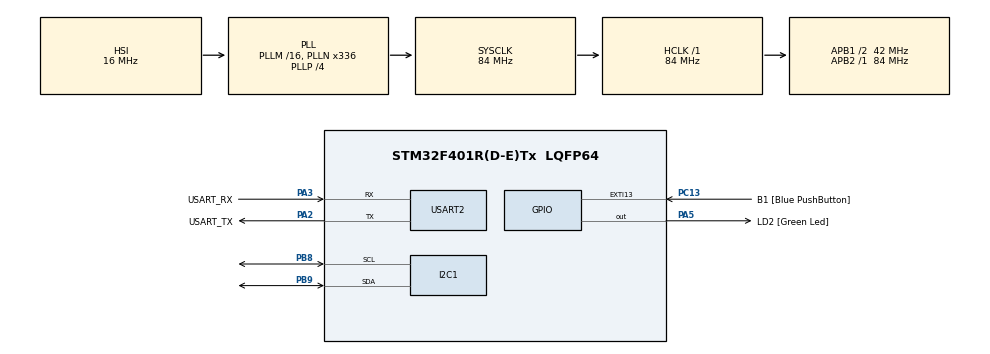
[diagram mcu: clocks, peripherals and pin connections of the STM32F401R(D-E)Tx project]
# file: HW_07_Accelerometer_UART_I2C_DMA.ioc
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Dma.I2C1_RX.1.Direction=DMA_PERIPH_TO_MEMORY
Dma.I2C1_RX.1.FIFOMode=DMA_FIFOMODE_DISABLE
Dma.I2C1_RX.1.Instance=DMA1_Stream0
Dma.I2C1_RX.1.MemDataAlignment=DMA_MDATAALIGN_BYTE
Dma.I2C1_RX.1.MemInc=DMA_MINC_ENABLE
Dma.I2C1_RX.1.Mode=DMA_NORMAL
Dma.I2C1_RX.1.PeriphDataAlignment=DMA_PDATAALIGN_BYTE
Dma.I2C1_RX.1.PeriphInc=DMA_PINC_DISABLE
Dma.I2C1_RX.1.Priority=DMA_PRIORITY_LOW
Dma.Request0=USART2_TX
Dma.Request1=I2C1_RX
Dma.USART2_TX.0.Direction=DMA_MEMORY_TO_PERIPH
Dma.USART2_TX.0.FIFOMode=DMA_FIFOMODE_DISABLE
Dma.USART2_TX.0.Instance=DMA1_Stream6
Dma.USART2_TX.0.MemDataAlignment=DMA_MDATAALIGN_BYTE
Dma.USART2_TX.0.MemInc=DMA_MINC_ENABLE
Dma.USART2_TX.0.Mode=DMA_NORMAL
Dma.USART2_TX.0.PeriphDataAlignment=DMA_PDATAALIGN_BYTE
Dma.USART2_TX.0.PeriphInc=DMA_PINC_DISABLE
Dma.USART2_TX.0.Priority=DMA_PRIORITY_LOW
Mcu.Family=STM32F4
Mcu.Name=STM32F401R(D-E)Tx
Mcu.Package=LQFP64
NVIC.DMA1_Stream0_IRQn=true\:0\:0\:false\:false\:true\:false\:true\:true
NVIC.DMA1_Stream6_IRQn=true\:0\:0\:false\:false\:true\:false\:true\:true
NVIC.I2C1_ER_IRQn=true\:0\:0\:false\:false\:true\:true\:true\:true
NVIC.I2C1_EV_IRQn=true\:0\:0\:false\:false\:true\:true\:true\:true
NVIC.PriorityGroup=NVIC_PRIORITYGROUP_0
NVIC.TIM2_IRQn=true\:0\:0\:false\:false\:true\:true\:true\:true
NVIC.USART2_IRQn=true\:0\:0\:false\:false\:true\:true\:true\:true
PA13.GPIO_Label=TMS
PA13.Mode=Serial_Wire
PA13.Signal=SYS_JTMS-SWDIO
PA14.GPIO_Label=TCK
PA14.Mode=Serial_Wire
PA14.Signal=SYS_JTCK-SWCLK
PA2.GPIO_Label=USART_TX
PA2.GPIO_Mode=GPIO_MODE_AF_PP
PA2.GPIO_PuPd=GPIO_NOPULL
PA2.GPIO_Speed=GPIO_SPEED_FREQ_LOW
PA2.Mode=Asynchronous
PA2.Signal=USART2_TX
PA3.GPIO_Label=USART_RX
PA3.GPIO_Mode=GPIO_MODE_AF_PP
PA3.GPIO_PuPd=GPIO_NOPULL
PA3.GPIO_Speed=GPIO_SPEED_FREQ_LOW
PA3.Mode=Asynchronous
PA3.Signal=USART2_RX
PA5.GPIO_Label=LD2 [Green Led]
PA5.GPIO_Mode=GPIO_MODE_OUTPUT_PP
PA5.GPIO_PuPd=GPIO_NOPULL
PA5.GPIO_Speed=GPIO_SPEED_FREQ_LOW
PA5.Signal=GPIO_Output
PB3.GPIO_Label=SWO
PB3.Signal=SYS_JTDO-SWO
PB8.Mode=I2C
PB8.Signal=I2C1_SCL
PB9.Mode=I2C
PB9.Signal=I2C1_SDA
PC13-ANTI_TAMP.GPIO_Label=B1 [Blue PushButton]
PC13-ANTI_TAMP.GPIO_ModeDefaultEXTI=GPIO_MODE_IT_FALLING
PC13-ANTI_TAMP.GPIO_PuPd=GPIO_NOPULL
PC13-ANTI_TAMP.Signal=GPXTI13
PC14-OSC32_IN.Mode=LSE-External-Oscillator
PC14-OSC32_IN.Signal=RCC_OSC32_IN
PC15-OSC32_OUT.Mode=LSE-External-Oscillator
PC15-OSC32_OUT.Signal=RCC_OSC32_OUT
PH0\ -\ OSC_IN.Mode=HSE-External-Clock-Source
PH0\ -\ OSC_IN.Signal=RCC_OSC_IN
PH1\ -\ OSC_OUT.Mode=HSE-External-Clock-Source
PH1\ -\ OSC_OUT.Signal=RCC_OSC_OUT
ProjectManager.HeapSize=0x200
ProjectManager.StackSize=0x400
ProjectManager.TargetToolchain=STM32CubeIDE
RCC.48MHZClocksFreq_Value=48000000
RCC.AHBFreq_Value=84000000
RCC.APB1CLKDivider=RCC_HCLK_DIV2
RCC.APB1Freq_Value=42000000
RCC.APB1TimFreq_Value=84000000
RCC.APB2Freq_Value=84000000
RCC.APB2TimFreq_Value=84000000
RCC.CortexFreq_Value=84000000
RCC.HCLKFreq_Value=84000000
RCC.HSE_VALUE=8000000
RCC.HSI_VALUE=16000000
RCC.PLLN=336
RCC.PLLP=RCC_PLLP_DIV4
RCC.PLLQ=7
RCC.SYSCLKFreq_VALUE=84000000
RCC.SYSCLKSource=RCC_SYSCLKSOURCE_PLLCLK
RCC.VCOOutputFreq_Value=336000000
TIM2.Period=84000-1
TIM2.Prescaler=1000-1
USART2.VirtualMode=VM_ASYNC
VP_TIM2_VS_ClockSourceINT.Mode=Internal
board=NUCLEO-F401RE

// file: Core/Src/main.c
/* USER CODE BEGIN Header */
/**
 ******************************************************************************
 * @file           : main.c
 * @brief          : Main program body
 ******************************************************************************
 * @attention
 *
 * Copyright (c) 2022 STMicroelectronics.
 * All rights reserved.
 *
 * This software is licensed under terms that can be found in the LICENSE file
 * in the root directory of this software component.
 * If no LICENSE file comes with this software, it is provided AS-IS.
 *
 ******************************************************************************
 */
/* USER CODE END Header */
#include "main.h"

/* USER CODE BEGIN Includes */
#include <stdio.h>
/* USER CODE END Includes */

I2C_HandleTypeDef hi2c1;
DMA_HandleTypeDef hdma_i2c1_rx;

TIM_HandleTypeDef htim2;

UART_HandleTypeDef huart2;
DMA_HandleTypeDef hdma_usart2_tx;

/* USER CODE BEGIN PV */

/*
 After the START condition (ST) a slave address is sent, once a slave
 acknowledge (SAK) has been returned, an 8-bit sub-address (SUB) is transmitted: the 7
 LSB represent the actual register address while the MSB enables address auto increment. If
 the MSB of the SUB field is ‘1’, the SUB (register address) is automatically increased to
 allow multiple data read/write.

 In order to read multiple bytes, it is necessary to assert the most significant bit of the subaddress
 field. In other words, SUB(7) must be equal to 1 while SUB(6-0) represents the
 address of the first register to be read*/

// possible accelerometer versions
uint8_t accelerometer_lis2de = 0b01010000;
uint8_t accelerometer_lis2de12 = 0b00110000;

uint8_t control_reg1[] = { 0b00100000, 0b00010111 }; // normal mode, 1hz sample rate
uint8_t control_reg2[] = { 0b00100001, 0b00000000 }; // no high pass filtering
uint8_t control_reg4[] = { 0b00100011, 0b00000000 }; // +-2g accelerations
uint8_t who_am_i[] = { 0b00001111, 0b00110011 }; // used for checking device presence

uint8_t out_x = 0x29, out_y = 0x2B, out_z = 0x2D; // addresses of x,y,z accelerations
uint8_t accelerometer; // accelerometer address

//will enable the successive readings
uint8_t multiple_readings;

//since the position of the output register are distant 2 position we will have to allocate two
//more byte to arrive from out_x to out_z, to see positions read pag 27 of the lis2de datasheet
//NB: in GPIO impose data width of the DMA request to byte
int8_t accelerations[6];

char buffer[100];
int len;

/* USER CODE END PV */

void SystemClock_Config(void);
static void MX_GPIO_Init(void);
static void MX_DMA_Init(void);
static void MX_USART2_UART_Init(void);
static void MX_TIM2_Init(void);
static void MX_I2C1_Init(void);

/* USER CODE BEGIN 0 */

void HAL_TIM_PeriodElapsedCallback(TIM_HandleTypeDef *htim) {

	//the MSB becomes 1, this enables the auto increment feature of LIS2De
	multiple_readings = out_x | (0b1 << 7);

	//transmit the first register to read with MSB=1
	// enables multiple data reading thanks to the auto increment of register addresses
	HAL_I2C_Master_Transmit(&hi2c1, accelerometer, &multiple_readings, 1, 100);

	//receive an array of 6 values (accelerations) with DMA in a single operation
	HAL_I2C_Master_Receive_DMA(&hi2c1, accelerometer + 1, (uint8_t*) accelerations, 6);

}

// function called when the registers are read correctly
void HAL_I2C_MasterRxCpltCallback(I2C_HandleTypeDef *hi2c) {
	float acc_X = accelerations[0] / 64.0;
	float acc_Y = accelerations[2] / 64.0;
	float acc_Z = accelerations[4] / 64.0;

	len = snprintf(buffer, sizeof(buffer), "X= %+.3f g \r\nY= %+.3f g \r\nZ= %+.3f g \r\n", acc_X, acc_Y, acc_Z);

	HAL_UART_Transmit_DMA(&huart2, (uint8_t*) buffer, len);
}

/* USER CODE END 0 */

int main(void) {

	/* MCU Configuration--------------------------------------------------------*/

	/* Reset of all peripherals, Initializes the Flash interface and the Systick. */
	HAL_Init();

	/* Configure the system clock */
	SystemClock_Config();

	/* Initialize all configured peripherals */
	MX_GPIO_Init();
	MX_DMA_Init();
	MX_USART2_UART_Init();
	MX_TIM2_Init();
	MX_I2C1_Init();
	/* USER CODE BEGIN 2 */

	if (HAL_I2C_Master_Transmit(&hi2c1, accelerometer_lis2de, who_am_i, 2, 100) == HAL_OK) {
		len = snprintf(buffer, sizeof(buffer), "LIS2DE found\r\n");
		accelerometer = accelerometer_lis2de;
	} else if (HAL_I2C_Master_Transmit(&hi2c1, accelerometer_lis2de12, who_am_i, 2, 100) == HAL_OK) {
		len = snprintf(buffer, sizeof(buffer), "LIS2DE12 found\r\n");
		accelerometer = accelerometer_lis2de12;
	} else {
		len = snprintf(buffer, sizeof(buffer), "Accelerometer error\r\n");
		return 0;
	}

	HAL_UART_Transmit_DMA(&huart2, (uint8_t*) buffer, len);

	// normal mode selection, 1 Hz sampling rate
	HAL_I2C_Master_Transmit(&hi2c1, accelerometer, control_reg1, 2, 100);
	// no high pass filtering
	HAL_I2C_Master_Transmit(&hi2c1, accelerometer, control_reg2, 2, 100);
	// setting the +/- 2g full scale range in normal mode
	HAL_I2C_Master_Transmit(&hi2c1, accelerometer, control_reg4, 2, 100);

	HAL_TIM_Base_Start_IT(&htim2);

	/* USER CODE END 2 */

	/* Infinite loop */
	while (1) {

	}
}

void SystemClock_Config(void) {
	RCC_OscInitTypeDef RCC_OscInitStruct = { 0 };
	RCC_ClkInitTypeDef RCC_ClkInitStruct = { 0 };

	/** Configure the main internal regulator output voltage
	 */
	__HAL_RCC_PWR_CLK_ENABLE();
	__HAL_PWR_VOLTAGESCALING_CONFIG(PWR_REGULATOR_VOLTAGE_SCALE2);

	/** Initializes the RCC Oscillators according to the specified parameters
	 * in the RCC_OscInitTypeDef structure.
	 */
	RCC_OscInitStruct.OscillatorType = RCC_OSCILLATORTYPE_HSI;
	RCC_OscInitStruct.HSIState = RCC_HSI_ON;
	RCC_OscInitStruct.HSICalibrationValue = RCC_HSICALIBRATION_DEFAULT;
	RCC_OscInitStruct.PLL.PLLState = RCC_PLL_ON;
	RCC_OscInitStruct.PLL.PLLSource = RCC_PLLSOURCE_HSI;
	RCC_OscInitStruct.PLL.PLLM = 16;
	RCC_OscInitStruct.PLL.PLLN = 336;
	RCC_OscInitStruct.PLL.PLLP = RCC_PLLP_DIV4;
	RCC_OscInitStruct.PLL.PLLQ = 7;
	if (HAL_RCC_OscConfig(&RCC_OscInitStruct) != HAL_OK) {
		Error_Handler();
	}

	/** Initializes the CPU, AHB and APB buses clocks
	 */
	RCC_ClkInitStruct.ClockType = RCC_CLOCKTYPE_HCLK | RCC_CLOCKTYPE_SYSCLK | RCC_CLOCKTYPE_PCLK1 | RCC_CLOCKTYPE_PCLK2;
	RCC_ClkInitStruct.SYSCLKSource = RCC_SYSCLKSOURCE_PLLCLK;
	RCC_ClkInitStruct.AHBCLKDivider = RCC_SYSCLK_DIV1;
	RCC_ClkInitStruct.APB1CLKDivider = RCC_HCLK_DIV2;
	RCC_ClkInitStruct.APB2CLKDivider = RCC_HCLK_DIV1;

	if (HAL_RCC_ClockConfig(&RCC_ClkInitStruct, FLASH_LATENCY_2) != HAL_OK) {
		Error_Handler();
	}
}

static void MX_I2C1_Init(void) {

	hi2c1.Instance = I2C1;
	hi2c1.Init.ClockSpeed = 100000;
	hi2c1.Init.DutyCycle = I2C_DUTYCYCLE_2;
	hi2c1.Init.OwnAddress1 = 0;
	hi2c1.Init.AddressingMode = I2C_ADDRESSINGMODE_7BIT;
	hi2c1.Init.DualAddressMode = I2C_DUALADDRESS_DISABLE;
	hi2c1.Init.OwnAddress2 = 0;
	hi2c1.Init.GeneralCallMode = I2C_GENERALCALL_DISABLE;
	hi2c1.Init.NoStretchMode = I2C_NOSTRETCH_DISABLE;
	if (HAL_I2C_Init(&hi2c1) != HAL_OK) {
		Error_Handler();
	}

}

static void MX_TIM2_Init(void) {

	TIM_ClockConfigTypeDef sClockSourceConfig = { 0 };
	TIM_MasterConfigTypeDef sMasterConfig = { 0 };

	htim2.Instance = TIM2;
	htim2.Init.Prescaler = 1000 - 1;
	htim2.Init.CounterMode = TIM_COUNTERMODE_UP;
	htim2.Init.Period = 84000 - 1;
	htim2.Init.ClockDivision = TIM_CLOCKDIVISION_DIV1;
	htim2.Init.AutoReloadPreload = TIM_AUTORELOAD_PRELOAD_DISABLE;
	if (HAL_TIM_Base_Init(&htim2) != HAL_OK) {
		Error_Handler();
	}
	sClockSourceConfig.ClockSource = TIM_CLOCKSOURCE_INTERNAL;
	if (HAL_TIM_ConfigClockSource(&htim2, &sClockSourceConfig) != HAL_OK) {
		Error_Handler();
	}
	sMasterConfig.MasterOutputTrigger = TIM_TRGO_RESET;
	sMasterConfig.MasterSlaveMode = TIM_MASTERSLAVEMODE_DISABLE;
	if (HAL_TIMEx_MasterConfigSynchronization(&htim2, &sMasterConfig) != HAL_OK) {
		Error_Handler();
	}

}

static void MX_USART2_UART_Init(void) {

	huart2.Instance = USART2;
	huart2.Init.BaudRate = 115200;
	huart2.Init.WordLength = UART_WORDLENGTH_8B;
	huart2.Init.StopBits = UART_STOPBITS_1;
	huart2.Init.Parity = UART_PARITY_NONE;
	huart2.Init.Mode = UART_MODE_TX_RX;
	huart2.Init.HwFlowCtl = UART_HWCONTROL_NONE;
	huart2.Init.OverSampling = UART_OVERSAMPLING_16;
	if (HAL_UART_Init(&huart2) != HAL_OK) {
		Error_Handler();
	}

}

static void MX_DMA_Init(void) {

	/* DMA controller clock enable */
	__HAL_RCC_DMA1_CLK_ENABLE();

	/* DMA interrupt init */
	/* DMA1_Stream0_IRQn interrupt configuration */
	HAL_NVIC_SetPriority(DMA1_Stream0_IRQn, 0, 0);
	HAL_NVIC_EnableIRQ(DMA1_Stream0_IRQn);
	/* DMA1_Stream6_IRQn interrupt configuration */
	HAL_NVIC_SetPriority(DMA1_Stream6_IRQn, 0, 0);
	HAL_NVIC_EnableIRQ(DMA1_Stream6_IRQn);

}

static void MX_GPIO_Init(void) {
	GPIO_InitTypeDef GPIO_InitStruct = { 0 };

	/* GPIO Ports Clock Enable */
	__HAL_RCC_GPIOC_CLK_ENABLE();
	__HAL_RCC_GPIOH_CLK_ENABLE();
	__HAL_RCC_GPIOA_CLK_ENABLE();
	__HAL_RCC_GPIOB_CLK_ENABLE();

	/*Configure GPIO pin Output Level */
	HAL_GPIO_WritePin(LD2_GPIO_Port, LD2_Pin, GPIO_PIN_RESET);

	/*Configure GPIO pin : B1_Pin */
	GPIO_InitStruct.Pin = B1_Pin;
	GPIO_InitStruct.Mode = GPIO_MODE_IT_FALLING;
	GPIO_InitStruct.Pull = GPIO_NOPULL;
	HAL_GPIO_Init(B1_GPIO_Port, &GPIO_InitStruct);

	/*Configure GPIO pin : LD2_Pin */
	GPIO_InitStruct.Pin = LD2_Pin;
	GPIO_InitStruct.Mode = GPIO_MODE_OUTPUT_PP;
	GPIO_InitStruct.Pull = GPIO_NOPULL;
	GPIO_InitStruct.Speed = GPIO_SPEED_FREQ_LOW;
	HAL_GPIO_Init(LD2_GPIO_Port, &GPIO_InitStruct);

}

void Error_Handler(void) {
	__disable_irq();
	while (1) {
	}
}
